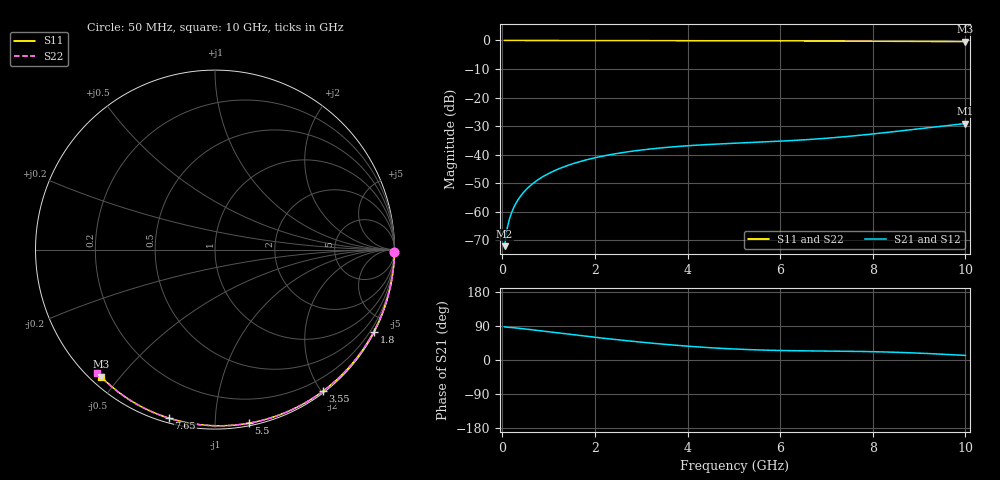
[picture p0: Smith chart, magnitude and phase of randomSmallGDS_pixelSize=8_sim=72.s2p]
! freq	dB(S11)	phase(S11)	dB(S12)	phase(S12)
!  dB(S21)	phase(S21)	dB(S22)	phase(S22)
!S-par simulation data
#  GHz  S  DB  R 50
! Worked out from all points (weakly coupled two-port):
!   200 points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, 50 MHz to 10 GHz, reference 50 ohm
!   highest |S21| = -29.10 dB at 10 GHz (marker M1); lowest = -72.1 dB at 50 MHz (marker M2)
!   lowest |S11| = -0.4 dB at 10 GHz (marker M3), VSWR 39.73, Z = 1.51 - j22.3 ohm
!   |S11| at or under -10 dB: nowhere
!   |S22| runs from -0.4 to 0.0 dB; largest |S21 - S12| = 0
!   S11 on the Smith chart (normalised r, x): 50 MHz: open; 1.8 GHz: 0.04, -4.11; 3.55 GHz: 0.02, -2.02; 5.5 GHz: 0.02, -1.21; 7.65 GHz: 0.02, -0.76; 10 GHz: 0.03, -0.45
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0.05  -0.00 -0.8  -72.09 87.6  -72.09 87.6  -0.00 -0.8
0.1  -0.00 -1.5  -66.25 86.7  -66.25 86.7  -0.00 -1.6
0.15  -0.00 -2.3  -62.82 86.2  -62.82 86.2  -0.00 -2.4
0.2  -0.00 -3.1  -60.37 85.7  -60.37 85.7  -0.00 -3.1
0.25  -0.00 -3.9  -58.46 85.1  -58.46 85.1  -0.00 -3.9
0.35  -0.00 -5.4  -55.57 83.8  -55.57 83.8  -0.00 -5.5
0.5  -0.01 -7.7  -52.51 81.7  -52.51 81.7  -0.01 -7.8
0.7  -0.01 -10.8  -49.63 78.8  -49.63 78.8  -0.01 -10.9
1  -0.02 -15.3  -46.63 74.4  -46.63 74.4  -0.02 -15.6
1.35  -0.03 -20.6  -44.16 69.3  -44.16 69.3  -0.03 -20.9
1.75  -0.03 -26.6  -42.12 63.5  -42.12 63.5  -0.03 -27.0
1.8  -0.03 -27.4  -41.90 62.8  -41.90 62.8  -0.04 -27.8
2.5  -0.05 -37.7  -39.54 53.3  -39.54 53.3  -0.05 -38.3
3.4  -0.07 -50.6  -37.69 42.5  -37.69 42.5  -0.07 -51.3
3.55  -0.07 -52.7  -37.47 40.9  -37.47 40.9  -0.07 -53.5
4.3  -0.09 -63.1  -36.60 33.9  -36.60 33.9  -0.09 -64.0
5.05  -0.11 -73.1  -35.99 28.8  -35.99 28.8  -0.11 -74.1
5.5  -0.13 -78.9  -35.67 26.7  -35.67 26.7  -0.13 -80.0
6.7  -0.18 -93.9  -34.62 23.9  -34.62 23.9  -0.18 -95.1
7.65  -0.23 -105.2  -33.34 22.7  -33.34 22.7  -0.24 -106.6
8.35  -0.28 -113.4  -32.15 20.9  -32.15 20.9  -0.29 -114.8
10  -0.44 -131.9  -29.10 12.1  -29.10 12.1  -0.44 -133.6
